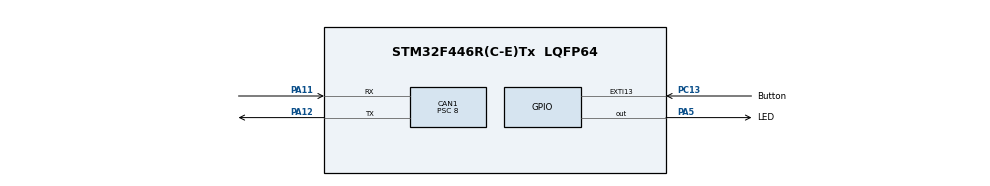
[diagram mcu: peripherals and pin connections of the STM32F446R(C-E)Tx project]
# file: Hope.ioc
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CAN1.BS1=CAN_BS1_2TQ
CAN1.CalculateBaudRate=500000
CAN1.CalculateTimeBit=2000
CAN1.CalculateTimeQuantum=500.0
CAN1.Mode=CAN_MODE_NORMAL
CAN1.Prescaler=8
Mcu.Family=STM32F4
Mcu.Name=STM32F446R(C-E)Tx
Mcu.Package=LQFP64
NVIC.CAN1_RX0_IRQn=true\:0\:0\:false\:false\:true\:true\:true\:true
NVIC.CAN1_TX_IRQn=true\:0\:0\:false\:false\:true\:true\:true\:true
NVIC.EXTI15_10_IRQn=true\:0\:0\:false\:false\:true\:true\:true\:true
NVIC.PriorityGroup=NVIC_PRIORITYGROUP_4
PA11.Mode=CAN_Activate
PA11.Signal=CAN1_RX
PA12.Mode=CAN_Activate
PA12.Signal=CAN1_TX
PA5.GPIO_Label=LED
PA5.Signal=GPIO_Output
PC13.GPIO_Label=Button
PC13.GPIO_ModeDefaultEXTI=GPIO_MODE_IT_FALLING
PC13.GPIO_PuPd=GPIO_PULLUP
PC13.Signal=GPXTI13
ProjectManager.HeapSize=0x200
ProjectManager.StackSize=0x400
ProjectManager.TargetToolchain=STM32CubeIDE
RCC.CortexFreq_Value=16000000
RCC.USBFreq_Value=96000000
RCC.VCOOutputFreq_Value=192000000
board=custom

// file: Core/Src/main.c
/* USER CODE BEGIN Header */
/**
  ******************************************************************************
  * @file           : main.c
  * @brief          : Main program body
  ******************************************************************************
  * @attention
  *
  * Copyright (c) 2025 STMicroelectronics.
  * All rights reserved.
  *
  * This software is licensed under terms that can be found in the LICENSE file
  * in the root directory of this software component.
  * If no LICENSE file comes with this software, it is provided AS-IS.
  *
  ******************************************************************************
  */
/* USER CODE END Header */
#include "main.h"
#include "CAN_processing.h"
#include "TestList.h"

CAN_HandleTypeDef hcan1;

/* USER CODE BEGIN PV */
int whatsmybutton = 0;
float johnyangle = 1.0;
CAN_FilterTypeDef sFilterConfig;
CAN_TxHeaderTypeDef TxHeader;
CAN_RxHeaderTypeDef RxHeader;
uint8_t TxData[8];
uint8_t RxData[8];
uint32_t TxMailbox;
/* USER CODE END PV */

void SystemClock_Config(void);
static void MX_GPIO_Init(void);
static void MX_CAN1_Init(void);

int main(void)
{

  /* MCU Configuration--------------------------------------------------------*/

  /* Reset of all peripherals, Initializes the Flash interface and the Systick. */
  HAL_Init();

  /* Configure the system clock */
  SystemClock_Config();

  /* Initialize all configured peripherals */
  MX_GPIO_Init();
  MX_CAN1_Init();
  /* USER CODE BEGIN 2 */
  sFilterConfig.FilterBank = 0;
  sFilterConfig.FilterMode = CAN_FILTERMODE_IDMASK;
  sFilterConfig.FilterScale = CAN_FILTERSCALE_32BIT;
  sFilterConfig.FilterIdHigh = 0x0000;
  sFilterConfig.FilterIdLow = 0x0000;
  sFilterConfig.FilterMaskIdHigh = 0x0000;
  sFilterConfig.FilterMaskIdLow = 0x0000;
  sFilterConfig.FilterFIFOAssignment = CAN_RX_FIFO0;
  sFilterConfig.FilterActivation = ENABLE;
  sFilterConfig.SlaveStartFilterBank = 14;
  if (HAL_CAN_ConfigFilter(&hcan1, &sFilterConfig) != HAL_OK)
  {
  /* Filter configuration Error */
  Error_Handler();
  }

  if (HAL_CAN_Start(&hcan1) != HAL_OK)
  {
  /* Start Error */
  Error_Handler();
  }

  if (HAL_CAN_ActivateNotification(&hcan1, CAN_IT_RX_FIFO0_MSG_PENDING | CAN_IT_TX_MAILBOX_EMPTY) != HAL_OK)
  {
  /* Notification Error */
  Error_Handler();
  }

  TxHeader.StdId = (int)AssortedTests(0);
  TxHeader.ExtId = 0x01;
  TxHeader.RTR = CAN_RTR_DATA;
  TxHeader.IDE = CAN_ID_STD;
  TxHeader.DLC = 8;
  TxHeader.TransmitGlobalTime = DISABLE;
      float johnangle = AssortedTests(1);
      memcpy(TxData, &johnangle, sizeof(float));
//  TxData[0] = 127;
//  TxData[1] = 127;
//  TxData[2] = 127;
//  TxData[3] = 127;
//  TxData[4] = 127;
//  TxData[5] = 127;
//  TxData[6] = 127;
//  TxData[7] = johnyangle; //Tony: I commented these out temporarily for testing.
  /* USER CODE END 2 */

  /* Infinite loop */
  while (1)
  {

    /* USER CODE BEGIN 3 */
//	  HAL_Delay(500);
  }
  /* USER CODE END 3 */
}

void SystemClock_Config(void)
{
  RCC_OscInitTypeDef RCC_OscInitStruct = {0};
  RCC_ClkInitTypeDef RCC_ClkInitStruct = {0};

  /** Configure the main internal regulator output voltage
  */
  __HAL_RCC_PWR_CLK_ENABLE();
  __HAL_PWR_VOLTAGESCALING_CONFIG(PWR_REGULATOR_VOLTAGE_SCALE3);

  /** Initializes the RCC Oscillators according to the specified parameters
  * in the RCC_OscInitTypeDef structure.
  */
  RCC_OscInitStruct.OscillatorType = RCC_OSCILLATORTYPE_HSI;
  RCC_OscInitStruct.HSIState = RCC_HSI_ON;
  RCC_OscInitStruct.HSICalibrationValue = RCC_HSICALIBRATION_DEFAULT;
  RCC_OscInitStruct.PLL.PLLState = RCC_PLL_NONE;
  if (HAL_RCC_OscConfig(&RCC_OscInitStruct) != HAL_OK)
  {
    Error_Handler();
  }

  /** Initializes the CPU, AHB and APB buses clocks
  */
  RCC_ClkInitStruct.ClockType = RCC_CLOCKTYPE_HCLK|RCC_CLOCKTYPE_SYSCLK
                              |RCC_CLOCKTYPE_PCLK1|RCC_CLOCKTYPE_PCLK2;
  RCC_ClkInitStruct.SYSCLKSource = RCC_SYSCLKSOURCE_HSI;
  RCC_ClkInitStruct.AHBCLKDivider = RCC_SYSCLK_DIV1;
  RCC_ClkInitStruct.APB1CLKDivider = RCC_HCLK_DIV1;
  RCC_ClkInitStruct.APB2CLKDivider = RCC_HCLK_DIV1;

  if (HAL_RCC_ClockConfig(&RCC_ClkInitStruct, FLASH_LATENCY_0) != HAL_OK)
  {
    Error_Handler();
  }
}

static void MX_CAN1_Init(void)
{

  hcan1.Instance = CAN1;
  hcan1.Init.Prescaler = 8;
  hcan1.Init.Mode = CAN_MODE_NORMAL;
  hcan1.Init.SyncJumpWidth = CAN_SJW_1TQ;
  hcan1.Init.TimeSeg1 = CAN_BS1_2TQ;
  hcan1.Init.TimeSeg2 = CAN_BS2_1TQ;
  hcan1.Init.TimeTriggeredMode = DISABLE;
  hcan1.Init.AutoBusOff = DISABLE;
  hcan1.Init.AutoWakeUp = DISABLE;
  hcan1.Init.AutoRetransmission = DISABLE;
  hcan1.Init.ReceiveFifoLocked = DISABLE;
  hcan1.Init.TransmitFifoPriority = DISABLE;
  if (HAL_CAN_Init(&hcan1) != HAL_OK)
  {
    Error_Handler();
  }

}

static void MX_GPIO_Init(void)
{
  GPIO_InitTypeDef GPIO_InitStruct = {0};

  /* GPIO Ports Clock Enable */
  __HAL_RCC_GPIOC_CLK_ENABLE();
  __HAL_RCC_GPIOA_CLK_ENABLE();

  /*Configure GPIO pin Output Level */
  HAL_GPIO_WritePin(LED_GPIO_Port, LED_Pin, GPIO_PIN_RESET);

  /*Configure GPIO pin : Button_Pin */
  GPIO_InitStruct.Pin = Button_Pin;
  GPIO_InitStruct.Mode = GPIO_MODE_IT_FALLING;
  GPIO_InitStruct.Pull = GPIO_PULLUP;
  HAL_GPIO_Init(Button_GPIO_Port, &GPIO_InitStruct);

  /*Configure GPIO pin : LED_Pin */
  GPIO_InitStruct.Pin = LED_Pin;
  GPIO_InitStruct.Mode = GPIO_MODE_OUTPUT_PP;
  GPIO_InitStruct.Pull = GPIO_NOPULL;
  GPIO_InitStruct.Speed = GPIO_SPEED_FREQ_LOW;
  HAL_GPIO_Init(LED_GPIO_Port, &GPIO_InitStruct);

  /* EXTI interrupt init*/
  HAL_NVIC_SetPriority(EXTI15_10_IRQn, 0, 0);
  HAL_NVIC_EnableIRQ(EXTI15_10_IRQn);

}

/* USER CODE BEGIN 4 */

void HAL_CAN_TxMailbox0CompleteCallback(CAN_HandleTypeDef *hcan)
{
//HAL_GPIO_TogglePin(GPIOA, GPIO_PIN_5);
}
void HAL_CAN_RxFifo0MsgPendingCallback(CAN_HandleTypeDef *hcan)
{
HAL_CAN_GetRxMessage(&hcan1, CAN_RX_FIFO0, &RxHeader, RxData);
CAN_Parse_MSG(&RxHeader, RxData);
HAL_GPIO_TogglePin(GPIOA, GPIO_PIN_5);
}
void HAL_GPIO_EXTI_Callback(uint16_t GPIO_Pin) {
	if (GPIO_Pin == GPIO_PIN_13) {
		whatsmybutton = 30;
	}
	if (johnyangle != AssortedTests(1)) {
		johnyangle = AssortedTests(1);
	}
	else {
		johnyangle = AssortedTests(2);
	}
	  memcpy(TxData, &johnyangle, sizeof(float));
	  HAL_CAN_AddTxMessage(&hcan1, &TxHeader, TxData, &TxMailbox);
}

/* USER CODE END 4 */

void Error_Handler(void)
{
  __disable_irq();
  while (1)
  {
  }
}
